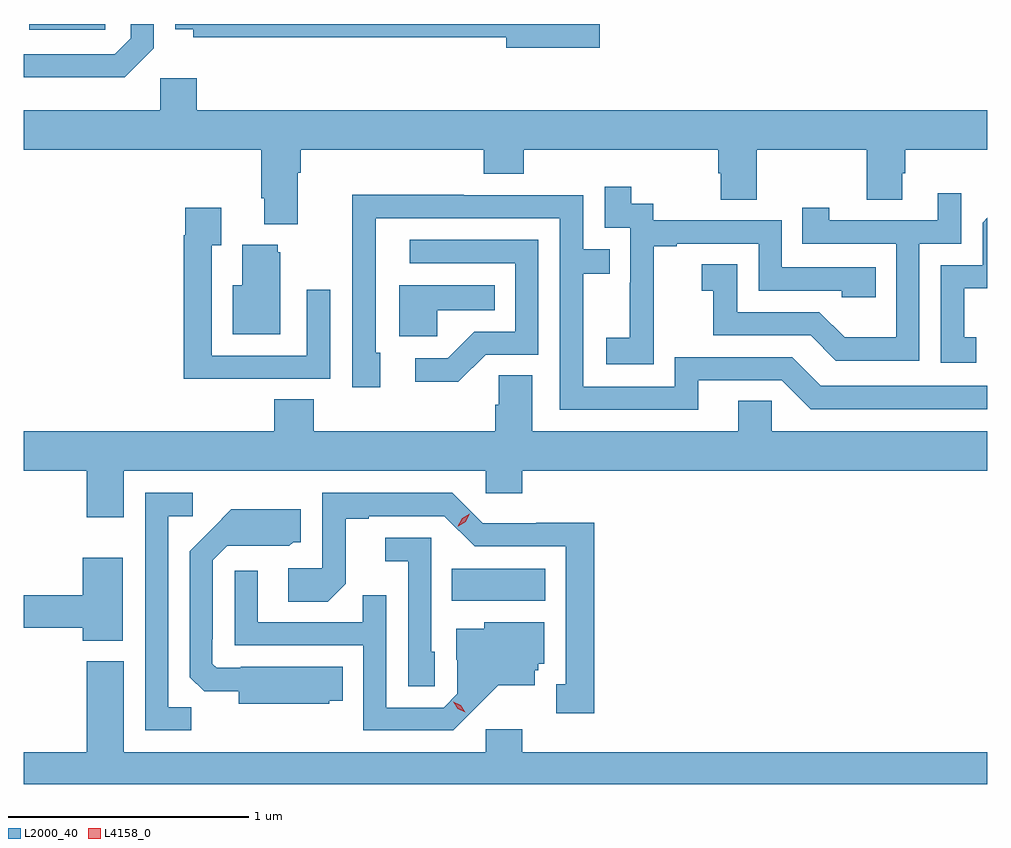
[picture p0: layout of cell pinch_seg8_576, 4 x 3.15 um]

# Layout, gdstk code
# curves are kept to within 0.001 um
import gdstk
lib = gdstk.Library(unit=1e-6, precision=1e-09)
def R(c, l, rs):  # rectangles x0, y0, x1, y1
    for r in rs: c.add(gdstk.rectangle(r[:2], r[2:], *l))
def P(c, l, *ps):  # polygons
    for p in ps: c.add(gdstk.Polygon(p, *l))
L2000_40 = (2000, 40)
L4158_0 = (4158, 0)

pinch_seg8_576 = lib.new_cell('pinch_seg8_576')
R(pinch_seg8_576, L2000_40, [(144.25,1082.66,144.637,1082.794), (142.497,1085.031,142.812,1085.054)])
P(pinch_seg8_576, L2000_40, [(143.013,1084.953),(143.013,1085.054),(142.917,1085.054),(142.917,1084.995),(142.851,1084.929),(142.473,1084.929),(142.473,1084.832),(142.892,1084.832)],
  [(144.865,1085.054),(143.102,1085.054),(143.102,1085.033),(143.178,1085.033),(143.178,1084.998),(144.476,1084.998),(144.476,1084.955),(144.865,1084.955)],
  [(143.192,1084.828),(143.04,1084.828),(143.04,1084.696),(142.473,1084.696),(142.473,1084.532),(143.459,1084.532),(143.459,1084.33),(143.471,1084.33),(143.471,1084.223),(143.611,1084.223),(143.611,1084.436),(143.624,1084.436),(143.624,1084.532),(144.383,1084.532),(144.383,1084.433),(144.548,1084.433),(144.548,1084.532),(145.355,1084.532),(145.355,1084.434),(145.367,1084.434),(145.367,1084.324),(145.515,1084.324),(145.515,1084.532),(145.972,1084.532),(145.972,1084.324),(146.119,1084.324),(146.119,1084.434),(146.132,1084.434),(146.132,1084.532),(146.473,1084.532),(146.473,1084.696),(143.192,1084.696)],
  [(145.089,1083.847),(145.088,1083.847),(145.088,1084.131),(145.183,1084.131),(145.183,1084.143),(145.524,1084.143),(145.524,1083.948),(145.869,1083.948),(145.869,1083.921),(146.009,1083.921),(146.009,1084.044),(145.62,1084.044),(145.62,1084.239),(145.086,1084.239),(145.086,1084.308),(144.994,1084.308),(144.994,1084.378),(144.885,1084.378),(144.885,1084.209),(144.99,1084.209),(144.99,1083.98),(144.989,1083.98),(144.989,1083.751),(144.891,1083.751),(144.891,1083.641),(145.089,1083.641)],
  [(146.19,1084.143),(146.364,1084.143),(146.364,1084.351),(146.267,1084.351),(146.267,1084.239),(145.816,1084.239),(145.816,1084.291),(145.705,1084.291),(145.705,1084.143),(146.094,1084.143),(146.094,1083.754),(145.88,1083.754),(145.776,1083.858),(145.434,1083.858),(145.434,1084.057),(145.287,1084.057),(145.287,1083.947),(145.336,1083.947),(145.336,1083.762),(145.739,1083.762),(145.844,1083.657),(146.19,1083.657)],
  [(145.273,1083.576),(145.62,1083.576),(145.74,1083.456),(146.473,1083.456),(146.473,1083.552),(145.782,1083.552),(145.662,1083.672),(145.176,1083.672),(145.176,1083.549),(144.795,1083.549),(144.795,1084.018),(144.905,1084.018),(144.905,1084.119),(144.795,1084.119),(144.795,1084.344),(144.299,1084.344),(144.299,1084.346),(143.836,1084.346),(143.836,1084.039),(143.838,1084.039),(143.838,1083.546),(143.953,1083.546),(143.953,1083.69),(143.934,1083.69),(143.935,1084.248),(144.699,1084.248),(144.699,1083.453),(145.273,1083.453)],
  [(143.429,1083.582),(143.745,1083.582),(143.745,1083.952),(143.649,1083.952),(143.649,1083.678),(143.253,1083.678),(143.253,1084.135),(143.293,1084.135),(143.293,1084.291),(143.145,1084.291),(143.145,1084.178),(143.137,1084.178),(143.137,1083.581),(143.429,1083.581)],
  [(146.426,1083.753),(146.377,1083.753),(146.377,1083.957),(146.473,1083.957),(146.473,1084.249),(146.454,1084.23),(146.454,1084.053),(146.28,1084.053),(146.28,1083.648),(146.426,1083.648)],
  [(144.39,1083.681),(144.609,1083.681),(144.609,1084.158),(144.075,1084.158),(144.075,1084.062),(144.513,1084.062),(144.513,1083.777),(144.344,1083.777),(144.233,1083.666),(144.099,1083.666),(144.099,1083.569),(144.277,1083.569)],
  [(143.539,1084.107),(143.528,1084.107),(143.528,1084.138),(143.381,1084.138),(143.381,1083.97),(143.342,1083.97),(143.342,1083.767),(143.539,1083.767)],
  [(144.189,1083.866),(144.428,1083.866),(144.428,1083.97),(144.032,1083.97),(144.032,1083.758),(144.189,1083.758)],
  [(142.888,1083.2),(144.39,1083.2),(144.39,1083.107),(144.542,1083.107),(144.542,1083.2),(146.473,1083.2),(146.473,1083.364),(145.578,1083.364),(145.578,1083.491),(145.439,1083.491),(145.439,1083.364),(144.583,1083.364),(144.583,1083.596),(144.444,1083.596),(144.444,1083.473),(144.431,1083.473),(144.431,1083.364),(143.678,1083.364),(143.678,1083.497),(143.513,1083.497),(143.513,1083.364),(142.473,1083.364),(142.473,1083.2),(142.736,1083.2),(142.736,1083.006),(142.888,1083.006)],
  [(144.841,1082.984),(144.6,1082.984),(144.6,1082.982),(144.378,1082.982),(144.252,1083.108),(143.712,1083.108),(143.712,1082.796),(143.571,1082.796),(143.571,1082.656),(143.735,1082.656),(143.811,1082.732),(143.811,1083),(143.905,1083),(143.905,1083.012),(144.219,1083.012),(144.345,1082.886),(144.722,1082.886),(144.722,1082.313),(144.683,1082.313),(144.683,1082.193),(144.841,1082.193)],
  [(143.169,1082.219),(143.073,1082.219),(143.073,1083.012),(143.176,1083.012),(143.176,1083.108),(142.977,1083.108),(142.977,1082.124),(143.169,1082.124)],
  [(143.742,1082.246),(143.798,1082.246),(143.798,1082.386),(143.374,1082.386),(143.374,1082.382),(143.274,1082.382),(143.256,1082.4),(143.256,1082.5),(143.259,1082.5),(143.259,1082.829),(143.319,1082.889),(143.576,1082.888),(143.592,1082.904),(143.623,1082.904),(143.623,1083.04),(143.335,1083.04),(143.163,1082.866),(143.163,1082.344),(143.222,1082.285),(143.366,1082.285),(143.366,1082.234),(143.742,1082.234)],
  [(144.18,1082.448),(144.165,1082.448),(144.165,1082.922),(143.973,1082.922),(143.973,1082.825),(144.069,1082.825),(144.069,1082.305),(144.18,1082.305)],
  [(142.885,1082.839),(142.718,1082.839),(142.718,1082.684),(142.473,1082.684),(142.473,1082.548),(142.718,1082.548),(142.718,1082.495),(142.885,1082.495)],
  [(144.34,1082.207),(144.443,1082.309),(144.595,1082.309),(144.595,1082.373),(144.609,1082.373),(144.609,1082.4),(144.634,1082.4),(144.634,1082.572),(144.384,1082.572),(144.384,1082.545),(144.269,1082.545),(144.269,1082.416),(144.273,1082.416),(144.273,1082.274),(144.216,1082.217),(143.979,1082.217),(143.979,1082.684),(143.881,1082.684),(143.881,1082.571),(143.445,1082.571),(143.445,1082.785),(143.349,1082.785),(143.349,1082.475),(143.883,1082.475),(143.883,1082.124),(144.256,1082.124)],
  [(146.473,1082.032),(144.542,1082.032),(144.542,1082.128),(144.39,1082.128),(144.39,1082.032),(142.888,1082.032),(142.888,1082.41),(142.736,1082.41),(142.736,1082.032),(142.473,1082.032),(142.473,1081.9),(146.473,1081.9)])
P(pinch_seg8_576, L4158_0, [(144.275,1082.969),(144.275,1082.969),(144.293,1083.002),(144.324,1083.021),(144.324,1083.021),(144.324,1083.021),(144.307,1082.988),(144.276,1082.969)],
  [(144.305,1082.197),(144.274,1082.212),(144.257,1082.241),(144.257,1082.241),(144.257,1082.241),(144.288,1082.226),(144.305,1082.197),(144.305,1082.197)])

lib.write_gds('pinch_seg8_576.gds')
